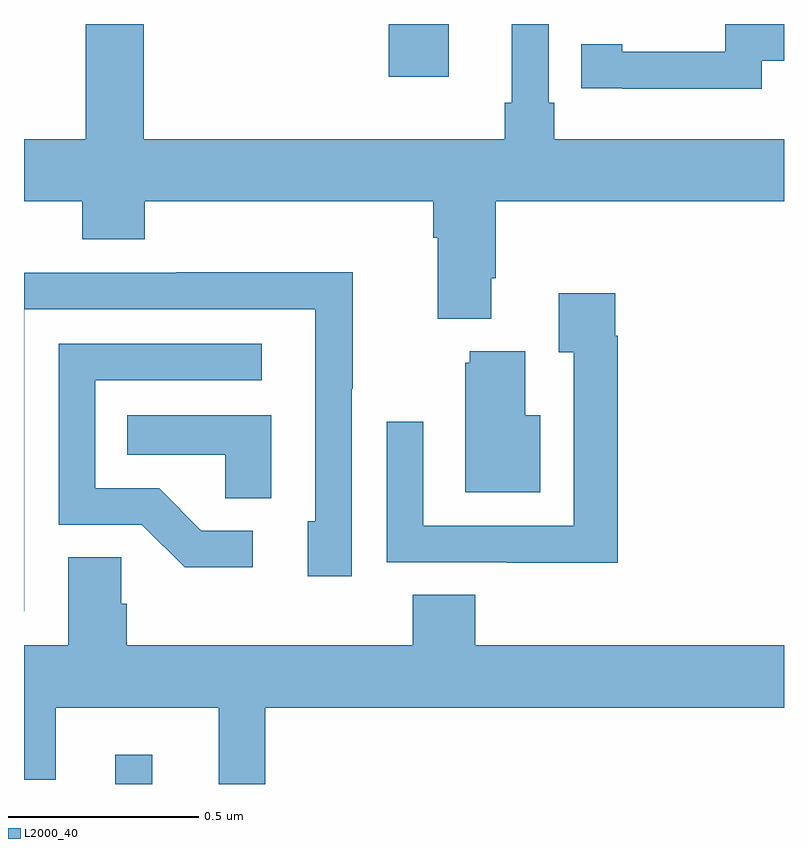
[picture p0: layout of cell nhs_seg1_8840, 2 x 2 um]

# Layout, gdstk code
import gdstk
lib = gdstk.Library(unit=1e-6, precision=1e-09)
def R(c, l, rs):  # rectangles x0, y0, x1, y1
    for r in rs: c.add(gdstk.rectangle(r[:2], r[2:], *l))
def P(c, l, *ps):  # polygons
    for p in ps: c.add(gdstk.Polygon(p, *l))
L2000_40 = (2000, 40)

nhs_seg1_8840 = lib.new_cell('nhs_seg1_8840')
R(nhs_seg1_8840, L2000_40, [(221.24,550.199,221.338,550.276), (221.96,552.06,222.118,552.199)])
P(nhs_seg1_8840, L2000_40, [(222.229,551.53),(222.242,551.53),(222.242,551.732),(223,551.732),(223,551.896),(222.395,551.896),(222.395,551.992),(222.381,551.992),(222.381,552.199),(222.284,552.199),(222.284,551.992),(222.265,551.992),(222.265,551.896),(221.315,551.896),(221.315,552.199),(221.162,552.199),(221.162,551.896),(221,551.896),(221,551.732),(221.153,551.732),(221.153,551.633),(221.318,551.633),(221.318,551.732),(222.077,551.732),(222.077,551.636),(222.089,551.636),(222.089,551.423),(222.229,551.423)],
  [(222.942,552.102),(223,552.102),(223,552.198),(222.846,552.198),(222.846,552.126),(222.574,552.126),(222.574,552.146),(222.466,552.146),(222.466,552.03),(222.574,552.03),(222.574,552.029),(222.942,552.029)],
  [(221.001,551.448),(221.766,551.448),(221.766,550.89),(221.747,550.89),(221.747,550.746),(221.862,550.746),(221.862,551.239),(221.865,551.239),(221.865,551.546),(221.401,551.546),(221.401,551.544),(221,551.544),(221,550.653),(221.001,550.653)],
  [(222.563,551.378),(222.556,551.378),(222.556,551.491),(222.407,551.491),(222.407,551.335),(222.447,551.335),(222.447,550.878),(222.051,550.878),(222.051,551.152),(221.955,551.152),(221.955,550.782),(222.271,550.782),(222.271,550.781),(222.563,550.781)],
  [(221.602,550.866),(221.467,550.866),(221.356,550.977),(221.187,550.977),(221.187,551.262),(221.626,551.262),(221.626,551.358),(221.091,551.358),(221.091,550.881),(221.31,550.881),(221.423,550.769),(221.602,550.769)],
  [(222.358,551.17),(222.319,551.17),(222.319,551.338),(222.173,551.338),(222.173,551.307),(222.161,551.307),(222.161,550.967),(222.358,550.967)],
  [(221.65,551.17),(221.272,551.17),(221.272,551.066),(221.529,551.066),(221.529,550.951),(221.65,550.951)],
  [(221.635,550.4),(223,550.4),(223,550.564),(222.188,550.564),(222.188,550.697),(222.023,550.697),(222.023,550.564),(221.27,550.564),(221.27,550.673),(221.256,550.673),(221.256,550.796),(221.117,550.796),(221.117,550.564),(221,550.564),(221,550.21),(221.083,550.21),(221.083,550.4),(221.513,550.4),(221.513,550.199),(221.635,550.199)])

lib.write_gds('nhs_seg1_8840.gds')
